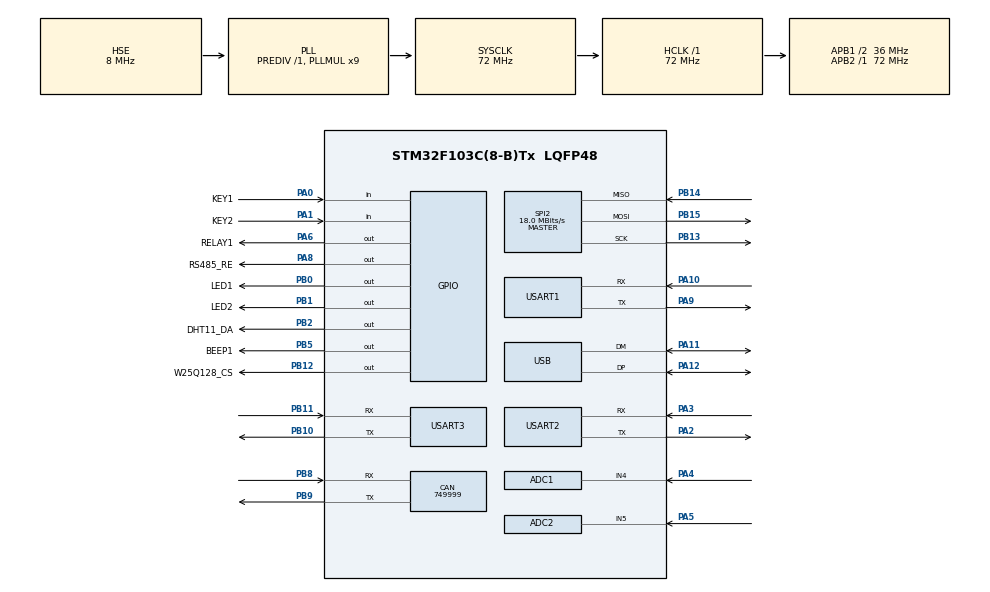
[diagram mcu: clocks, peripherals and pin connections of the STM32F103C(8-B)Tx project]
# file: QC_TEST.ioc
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ADC1.Channel-1\#ChannelRegularConversion=ADC_CHANNEL_4
ADC1.NbrOfConversionFlag=1
ADC1.Rank-1\#ChannelRegularConversion=1
ADC1.SamplingTime-1\#ChannelRegularConversion=ADC_SAMPLETIME_1CYCLE_5
ADC1.master=1
ADC2.Channel-2\#ChannelRegularConversion=ADC_CHANNEL_5
ADC2.NbrOfConversionFlag=1
ADC2.Rank-2\#ChannelRegularConversion=1
ADC2.SamplingTime-2\#ChannelRegularConversion=ADC_SAMPLETIME_1CYCLE_5
CAN.CalculateBaudRate=749999
CAN.CalculateTimeBit=1333
CAN.CalculateTimeQuantum=444.44444444444446
Mcu.Family=STM32F1
Mcu.Name=STM32F103C(8-B)Tx
Mcu.Package=LQFP48
NVIC.PriorityGroup=NVIC_PRIORITYGROUP_4
NVIC.USART1_IRQn=true\:0\:0\:false\:false\:true\:true\:true
PA0-WKUP.GPIO_Label=KEY1
PA0-WKUP.GPIO_PuPd=GPIO_PULLUP
PA0-WKUP.Signal=GPIO_Input
PA1.GPIO_Label=KEY2
PA1.GPIO_PuPd=GPIO_PULLUP
PA1.Signal=GPIO_Input
PA10.Mode=Asynchronous
PA10.Signal=USART1_RX
PA11.Mode=Device
PA11.Signal=USB_DM
PA12.Mode=Device
PA12.Signal=USB_DP
PA13.Mode=JTAG_5_pins
PA13.Signal=SYS_JTMS-SWDIO
PA14.Mode=JTAG_5_pins
PA14.Signal=SYS_JTCK-SWCLK
PA15.Mode=JTAG_5_pins
PA15.Signal=SYS_JTDI
PA2.Mode=Asynchronous
PA2.Signal=USART2_TX
PA3.Mode=Asynchronous
PA3.Signal=USART2_RX
PA4.Signal=ADCx_IN4
PA5.Signal=ADCx_IN5
PA6.GPIO_Label=RELAY1
PA6.GPIO_ModeDefaultOutputPP=GPIO_MODE_OUTPUT_OD
PA6.GPIO_PuPd=GPIO_NOPULL
PA6.GPIO_Speed=GPIO_SPEED_FREQ_HIGH
PA6.PinState=GPIO_PIN_SET
PA6.Signal=GPIO_Output
PA8.GPIO_Label=RS485_RE
PA8.GPIO_PuPd=GPIO_NOPULL
PA8.GPIO_Speed=GPIO_SPEED_FREQ_HIGH
PA8.Signal=GPIO_Output
PA9.Mode=Asynchronous
PA9.Signal=USART1_TX
PB0.GPIO_Label=LED1
PB0.GPIO_ModeDefaultOutputPP=GPIO_MODE_OUTPUT_PP
PB0.GPIO_PuPd=GPIO_NOPULL
PB0.GPIO_Speed=GPIO_SPEED_FREQ_HIGH
PB0.PinState=GPIO_PIN_RESET
PB0.Signal=GPIO_Output
PB1.GPIO_Label=LED2
PB1.GPIO_Speed=GPIO_SPEED_FREQ_HIGH
PB1.PinState=GPIO_PIN_SET
PB1.Signal=GPIO_Output
PB10.Mode=Asynchronous
PB10.Signal=USART3_TX
PB11.Mode=Asynchronous
PB11.Signal=USART3_RX
PB12.GPIO_Label=W25Q128_CS
PB12.GPIO_PuPd=GPIO_PULLUP
PB12.GPIO_Speed=GPIO_SPEED_FREQ_HIGH
PB12.PinState=GPIO_PIN_SET
PB12.Signal=GPIO_Output
PB13.Mode=Full_Duplex_Master
PB13.Signal=SPI2_SCK
PB14.Mode=Full_Duplex_Master
PB14.Signal=SPI2_MISO
PB15.Mode=Full_Duplex_Master
PB15.Signal=SPI2_MOSI
PB2.GPIO_Label=DHT11_DA
PB2.GPIO_Speed=GPIO_SPEED_FREQ_HIGH
PB2.PinState=GPIO_PIN_SET
PB2.Signal=GPIO_Output
PB3.Mode=JTAG_5_pins
PB3.Signal=SYS_JTDO-TRACESWO
PB4.Mode=JTAG_5_pins
PB4.Signal=SYS_NJTRST
PB5.GPIO_Label=BEEP1
PB5.GPIO_Speed=GPIO_SPEED_FREQ_HIGH
PB5.PinState=GPIO_PIN_SET
PB5.Signal=GPIO_Output
PB8.Mode=CAN_Activate
PB8.Signal=CAN_RX
PB9.Mode=CAN_Activate
PB9.Signal=CAN_TX
PC14-OSC32_IN.Mode=LSE-External-Oscillator
PC14-OSC32_IN.Signal=RCC_OSC32_IN
PC15-OSC32_OUT.Mode=LSE-External-Oscillator
PC15-OSC32_OUT.Signal=RCC_OSC32_OUT
PD0-OSC_IN.Mode=HSE-External-Oscillator
PD0-OSC_IN.Signal=RCC_OSC_IN
PD1-OSC_OUT.Mode=HSE-External-Oscillator
PD1-OSC_OUT.Signal=RCC_OSC_OUT
ProjectManager.HeapSize=0x200
ProjectManager.StackSize=0x400
ProjectManager.TargetToolchain=STM32CubeIDE
RCC.ADCPresc=RCC_ADCPCLK2_DIV8
RCC.AHBFreq_Value=72000000
RCC.APB1CLKDivider=RCC_HCLK_DIV2
RCC.APB1Freq_Value=36000000
RCC.APB1TimFreq_Value=72000000
RCC.APB2Freq_Value=72000000
RCC.APB2TimFreq_Value=72000000
RCC.HCLKFreq_Value=72000000
RCC.PLLMUL=RCC_PLL_MUL9
RCC.PLLSourceVirtual=RCC_PLLSOURCE_HSE
RCC.RCC_MCOSource=RCC_MCO1SOURCE_HSE
RCC.RTCClockSelection=RCC_RTCCLKSOURCE_LSE
RCC.SYSCLKFreq_VALUE=72000000
RCC.SYSCLKSource=RCC_SYSCLKSOURCE_PLLCLK
RCC.USBFreq_Value=48000000
RCC.USBPrescaler=RCC_USBCLKSOURCE_PLL_DIV1_5
SH.ADCx_IN4.0=ADC1_IN4,IN4
SH.ADCx_IN5.0=ADC2_IN5,IN5
SPI2.CalculateBaudRate=18.0 MBits/s
SPI2.Direction=SPI_DIRECTION_2LINES
SPI2.Mode=SPI_MODE_MASTER
SPI2.VirtualType=VM_MASTER
USART1.VirtualMode=VM_ASYNC
USART2.VirtualMode=VM_ASYNC
USART3.VirtualMode=VM_ASYNC
VP_RTC_VS_RTC_Activate.Mode=RTC_Enabled
board=custom

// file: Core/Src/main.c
/* USER CODE BEGIN Header */
/**
  ******************************************************************************
  * @file           : main.c
  * @brief          : Main program body
  ******************************************************************************
  * @attention
  *
  * Copyright (c) 2021 STMicroelectronics.
  * All rights reserved.
  *
  * This software is licensed under terms that can be found in the LICENSE file
  * in the root directory of this software component.
  * If no LICENSE file comes with this software, it is provided AS-IS.
  *
  ******************************************************************************
  */
/* USER CODE END Header */
#include "main.h"

/* USER CODE BEGIN Includes */
#include "../../icode/led/led.h"
#include "../../icode/key/key.h"
#include "../../icode/delay/delay.h"
#include "../../icode/buzzer/buzzer.h"
#include "../../icode/relay/relay.h"
#include "../inc/retarget.h"//用于printf函数串口重映射
#include "../../icode/usart/usart.h"
/* USER CODE END Includes */

ADC_HandleTypeDef hadc1;
ADC_HandleTypeDef hadc2;

CAN_HandleTypeDef hcan;

RTC_HandleTypeDef hrtc;

SPI_HandleTypeDef hspi2;

UART_HandleTypeDef huart1;
UART_HandleTypeDef huart2;
UART_HandleTypeDef huart3;

PCD_HandleTypeDef hpcd_USB_FS;

void SystemClock_Config(void);
static void MX_GPIO_Init(void);
static void MX_RTC_Init(void);
static void MX_ADC1_Init(void);
static void MX_ADC2_Init(void);
static void MX_CAN_Init(void);
static void MX_SPI2_Init(void);
static void MX_USART1_UART_Init(void);
static void MX_USART2_UART_Init(void);
static void MX_USART3_UART_Init(void);
static void MX_USB_PCD_Init(void);

int main(void)
{

  /* MCU Configuration--------------------------------------------------------*/

  /* Reset of all peripherals, Initializes the Flash interface and the Systick. */
  HAL_Init();

  /* Configure the system clock */
  SystemClock_Config();

  /* Initialize all configured peripherals */
  MX_GPIO_Init();
  MX_RTC_Init();
  MX_ADC1_Init();
  MX_ADC2_Init();
  MX_CAN_Init();
  MX_SPI2_Init();
  MX_USART1_UART_Init();
  MX_USART2_UART_Init();
  MX_USART3_UART_Init();
  MX_USB_PCD_Init();
  /* USER CODE BEGIN 2 */
  RetargetInit(&huart1);//将printf()函数映射到UART1串口上
  HAL_UART_Receive_IT(&huart1,(uint8_t *)&USART1_NewData,1);//开启串口1接收中断
  /* USER CODE END 2 */

  /* Infinite loop */
  /* USER CODE BEGIN WHILE */
  while (1)
  {
//	  LED_1(1);//LED1灯控制（1点亮，0熄灭）
//	  LED_2(0);//LED2灯控制（1点亮，0熄灭）
//	  HAL_Delay(100);//在主循环里写入HAL库的毫秒级延时函数
//	  LED_1(0);//LED1灯控制（1点亮，0熄灭）
//	  LED_2(1);//LED2灯控制（1点亮，0熄灭）
//	  HAL_Delay(100);//在主循环里写入HAL库的毫秒级延时函数

	  if(KEY_1()) //按键KEY1判断为1时按键按下
	  {
		  LED_1(1);//LED1灯控制（1点亮，0熄灭）
		  LED_2(1);//LED2灯控制（1点亮，0熄灭）
		  BUZZER_SOLO1();//蜂鸣器输出单音的报警音（样式1：HAL库的精准延时函数）
		  RELAY_1(1);//继电器的控制程序（c=0继电器放开，c=1继电器吸合）
	      HAL_UART_Transmit(&huart1,(uint8_t*)&"KEY1\r\n",6,0xffff);//串口发送：串口号1，内容"ABC"，数量3，溢出时间0xffff
	  }
	  if(KEY_2()) //按键KEY2判断为1时按键按下
	  {
		  LED_1(0);//LED1灯控制（1点亮，0熄灭）
		  LED_2(0);//LED2灯控制（1点亮，0熄灭）
		  BUZZER_SOLO2();//蜂鸣器输出单音的报警音（样式2：CPU微秒级延时）
		  RELAY_1(0);//继电器的控制程序（c=0继电器放开，c=1继电器吸合）
		  printf("KEY2\r\n");//向USART1串口发送字符串
	  }
	  if(USART1_RX_STA==0x0001){//串口1判断中断接收标志位
		  if(USART1_RX_BUF[0]=='1'){
			  LED_1(1);//LED1灯控制（1点亮，0熄灭）
			  LED_2(1);//LED2灯控制（1点亮，0熄灭）
			  BUZZER_SOLO1();//蜂鸣器输出单音的报警音（样式1：HAL库的精准延时函数）
			  RELAY_1(1);//继电器的控制程序（c=0继电器放开，c=1继电器吸合）
		  }
		  if(USART1_RX_BUF[0]=='0'){
			  LED_1(0);//LED1灯控制（1点亮，0熄灭）
			  LED_2(0);//LED2灯控制（1点亮，0熄灭）
			  BUZZER_SOLO2();//蜂鸣器输出单音的报警音（样式2：CPU微秒级延时）
			  RELAY_1(0);//继电器的控制程序（c=0继电器放开，c=1继电器吸合）
		  }
		  USART1_RX_STA=0;//串口接收标志清0，即开启下一轮接收
	  }

    /* USER CODE END WHILE */

  }
}

void SystemClock_Config(void)
{
  RCC_OscInitTypeDef RCC_OscInitStruct = {0};
  RCC_ClkInitTypeDef RCC_ClkInitStruct = {0};
  RCC_PeriphCLKInitTypeDef PeriphClkInit = {0};

  /** Initializes the RCC Oscillators according to the specified parameters
  * in the RCC_OscInitTypeDef structure.
  */
  RCC_OscInitStruct.OscillatorType = RCC_OSCILLATORTYPE_HSE|RCC_OSCILLATORTYPE_LSE;
  RCC_OscInitStruct.HSEState = RCC_HSE_ON;
  RCC_OscInitStruct.HSEPredivValue = RCC_HSE_PREDIV_DIV1;
  RCC_OscInitStruct.LSEState = RCC_LSE_ON;
  RCC_OscInitStruct.HSIState = RCC_HSI_ON;
  RCC_OscInitStruct.PLL.PLLState = RCC_PLL_ON;
  RCC_OscInitStruct.PLL.PLLSource = RCC_PLLSOURCE_HSE;
  RCC_OscInitStruct.PLL.PLLMUL = RCC_PLL_MUL9;
  if (HAL_RCC_OscConfig(&RCC_OscInitStruct) != HAL_OK)
  {
    Error_Handler();
  }
  /** Initializes the CPU, AHB and APB buses clocks
  */
  RCC_ClkInitStruct.ClockType = RCC_CLOCKTYPE_HCLK|RCC_CLOCKTYPE_SYSCLK
                              |RCC_CLOCKTYPE_PCLK1|RCC_CLOCKTYPE_PCLK2;
  RCC_ClkInitStruct.SYSCLKSource = RCC_SYSCLKSOURCE_PLLCLK;
  RCC_ClkInitStruct.AHBCLKDivider = RCC_SYSCLK_DIV1;
  RCC_ClkInitStruct.APB1CLKDivider = RCC_HCLK_DIV2;
  RCC_ClkInitStruct.APB2CLKDivider = RCC_HCLK_DIV1;

  if (HAL_RCC_ClockConfig(&RCC_ClkInitStruct, FLASH_LATENCY_2) != HAL_OK)
  {
    Error_Handler();
  }
  PeriphClkInit.PeriphClockSelection = RCC_PERIPHCLK_RTC|RCC_PERIPHCLK_ADC
                              |RCC_PERIPHCLK_USB;
  PeriphClkInit.RTCClockSelection = RCC_RTCCLKSOURCE_LSE;
  PeriphClkInit.AdcClockSelection = RCC_ADCPCLK2_DIV8;
  PeriphClkInit.UsbClockSelection = RCC_USBCLKSOURCE_PLL_DIV1_5;
  if (HAL_RCCEx_PeriphCLKConfig(&PeriphClkInit) != HAL_OK)
  {
    Error_Handler();
  }
}

static void MX_ADC1_Init(void)
{

  ADC_ChannelConfTypeDef sConfig = {0};

  /** Common config
  */
  hadc1.Instance = ADC1;
  hadc1.Init.ScanConvMode = ADC_SCAN_DISABLE;
  hadc1.Init.ContinuousConvMode = DISABLE;
  hadc1.Init.DiscontinuousConvMode = DISABLE;
  hadc1.Init.ExternalTrigConv = ADC_SOFTWARE_START;
  hadc1.Init.DataAlign = ADC_DATAALIGN_RIGHT;
  hadc1.Init.NbrOfConversion = 1;
  if (HAL_ADC_Init(&hadc1) != HAL_OK)
  {
    Error_Handler();
  }
  /** Configure Regular Channel
  */
  sConfig.Channel = ADC_CHANNEL_4;
  sConfig.Rank = ADC_REGULAR_RANK_1;
  sConfig.SamplingTime = ADC_SAMPLETIME_1CYCLE_5;
  if (HAL_ADC_ConfigChannel(&hadc1, &sConfig) != HAL_OK)
  {
    Error_Handler();
  }

}

static void MX_ADC2_Init(void)
{

  ADC_ChannelConfTypeDef sConfig = {0};

  /** Common config
  */
  hadc2.Instance = ADC2;
  hadc2.Init.ScanConvMode = ADC_SCAN_DISABLE;
  hadc2.Init.ContinuousConvMode = DISABLE;
  hadc2.Init.DiscontinuousConvMode = DISABLE;
  hadc2.Init.ExternalTrigConv = ADC_SOFTWARE_START;
  hadc2.Init.DataAlign = ADC_DATAALIGN_RIGHT;
  hadc2.Init.NbrOfConversion = 1;
  if (HAL_ADC_Init(&hadc2) != HAL_OK)
  {
    Error_Handler();
  }
  /** Configure Regular Channel
  */
  sConfig.Channel = ADC_CHANNEL_5;
  sConfig.Rank = ADC_REGULAR_RANK_1;
  sConfig.SamplingTime = ADC_SAMPLETIME_1CYCLE_5;
  if (HAL_ADC_ConfigChannel(&hadc2, &sConfig) != HAL_OK)
  {
    Error_Handler();
  }

}

static void MX_CAN_Init(void)
{

  hcan.Instance = CAN1;
  hcan.Init.Prescaler = 16;
  hcan.Init.Mode = CAN_MODE_NORMAL;
  hcan.Init.SyncJumpWidth = CAN_SJW_1TQ;
  hcan.Init.TimeSeg1 = CAN_BS1_1TQ;
  hcan.Init.TimeSeg2 = CAN_BS2_1TQ;
  hcan.Init.TimeTriggeredMode = DISABLE;
  hcan.Init.AutoBusOff = DISABLE;
  hcan.Init.AutoWakeUp = DISABLE;
  hcan.Init.AutoRetransmission = DISABLE;
  hcan.Init.ReceiveFifoLocked = DISABLE;
  hcan.Init.TransmitFifoPriority = DISABLE;
  if (HAL_CAN_Init(&hcan) != HAL_OK)
  {
    Error_Handler();
  }

}

static void MX_RTC_Init(void)
{

  /** Initialize RTC Only
  */
  hrtc.Instance = RTC;
  hrtc.Init.AsynchPrediv = RTC_AUTO_1_SECOND;
  hrtc.Init.OutPut = RTC_OUTPUTSOURCE_ALARM;
  if (HAL_RTC_Init(&hrtc) != HAL_OK)
  {
    Error_Handler();
  }

}

static void MX_SPI2_Init(void)
{

  /* SPI2 parameter configuration*/
  hspi2.Instance = SPI2;
  hspi2.Init.Mode = SPI_MODE_MASTER;
  hspi2.Init.Direction = SPI_DIRECTION_2LINES;
  hspi2.Init.DataSize = SPI_DATASIZE_8BIT;
  hspi2.Init.CLKPolarity = SPI_POLARITY_LOW;
  hspi2.Init.CLKPhase = SPI_PHASE_1EDGE;
  hspi2.Init.NSS = SPI_NSS_SOFT;
  hspi2.Init.BaudRatePrescaler = SPI_BAUDRATEPRESCALER_2;
  hspi2.Init.FirstBit = SPI_FIRSTBIT_MSB;
  hspi2.Init.TIMode = SPI_TIMODE_DISABLE;
  hspi2.Init.CRCCalculation = SPI_CRCCALCULATION_DISABLE;
  hspi2.Init.CRCPolynomial = 10;
  if (HAL_SPI_Init(&hspi2) != HAL_OK)
  {
    Error_Handler();
  }

}

static void MX_USART1_UART_Init(void)
{

  huart1.Instance = USART1;
  huart1.Init.BaudRate = 115200;
  huart1.Init.WordLength = UART_WORDLENGTH_8B;
  huart1.Init.StopBits = UART_STOPBITS_1;
  huart1.Init.Parity = UART_PARITY_NONE;
  huart1.Init.Mode = UART_MODE_TX_RX;
  huart1.Init.HwFlowCtl = UART_HWCONTROL_NONE;
  huart1.Init.OverSampling = UART_OVERSAMPLING_16;
  if (HAL_UART_Init(&huart1) != HAL_OK)
  {
    Error_Handler();
  }

}

static void MX_USART2_UART_Init(void)
{

  huart2.Instance = USART2;
  huart2.Init.BaudRate = 115200;
  huart2.Init.WordLength = UART_WORDLENGTH_8B;
  huart2.Init.StopBits = UART_STOPBITS_1;
  huart2.Init.Parity = UART_PARITY_NONE;
  huart2.Init.Mode = UART_MODE_TX_RX;
  huart2.Init.HwFlowCtl = UART_HWCONTROL_NONE;
  huart2.Init.OverSampling = UART_OVERSAMPLING_16;
  if (HAL_UART_Init(&huart2) != HAL_OK)
  {
    Error_Handler();
  }

}

static void MX_USART3_UART_Init(void)
{

  huart3.Instance = USART3;
  huart3.Init.BaudRate = 115200;
  huart3.Init.WordLength = UART_WORDLENGTH_8B;
  huart3.Init.StopBits = UART_STOPBITS_1;
  huart3.Init.Parity = UART_PARITY_NONE;
  huart3.Init.Mode = UART_MODE_TX_RX;
  huart3.Init.HwFlowCtl = UART_HWCONTROL_NONE;
  huart3.Init.OverSampling = UART_OVERSAMPLING_16;
  if (HAL_UART_Init(&huart3) != HAL_OK)
  {
    Error_Handler();
  }

}

static void MX_USB_PCD_Init(void)
{

  hpcd_USB_FS.Instance = USB;
  hpcd_USB_FS.Init.dev_endpoints = 8;
  hpcd_USB_FS.Init.speed = PCD_SPEED_FULL;
  hpcd_USB_FS.Init.low_power_enable = DISABLE;
  hpcd_USB_FS.Init.lpm_enable = DISABLE;
  hpcd_USB_FS.Init.battery_charging_enable = DISABLE;
  if (HAL_PCD_Init(&hpcd_USB_FS) != HAL_OK)
  {
    Error_Handler();
  }

}

static void MX_GPIO_Init(void)
{
  GPIO_InitTypeDef GPIO_InitStruct = {0};

  /* GPIO Ports Clock Enable */
  __HAL_RCC_GPIOC_CLK_ENABLE();
  __HAL_RCC_GPIOD_CLK_ENABLE();
  __HAL_RCC_GPIOA_CLK_ENABLE();
  __HAL_RCC_GPIOB_CLK_ENABLE();

  /*Configure GPIO pin Output Level */
  HAL_GPIO_WritePin(RELAY1_GPIO_Port, RELAY1_Pin, GPIO_PIN_SET);

  /*Configure GPIO pin Output Level */
  HAL_GPIO_WritePin(LED1_GPIO_Port, LED1_Pin, GPIO_PIN_RESET);

  /*Configure GPIO pin Output Level */
  HAL_GPIO_WritePin(GPIOB, LED2_Pin|DHT11_DA_Pin|W25Q128_CS_Pin|BEEP1_Pin, GPIO_PIN_SET);

  /*Configure GPIO pin Output Level */
  HAL_GPIO_WritePin(RS485_RE_GPIO_Port, RS485_RE_Pin, GPIO_PIN_RESET);

  /*Configure GPIO pins : KEY1_Pin KEY2_Pin */
  GPIO_InitStruct.Pin = KEY1_Pin|KEY2_Pin;
  GPIO_InitStruct.Mode = GPIO_MODE_INPUT;
  GPIO_InitStruct.Pull = GPIO_PULLUP;
  HAL_GPIO_Init(GPIOA, &GPIO_InitStruct);

  /*Configure GPIO pin : RELAY1_Pin */
  GPIO_InitStruct.Pin = RELAY1_Pin;
  GPIO_InitStruct.Mode = GPIO_MODE_OUTPUT_OD;
  GPIO_InitStruct.Pull = GPIO_NOPULL;
  GPIO_InitStruct.Speed = GPIO_SPEED_FREQ_HIGH;
  HAL_GPIO_Init(RELAY1_GPIO_Port, &GPIO_InitStruct);

  /*Configure GPIO pins : LED1_Pin LED2_Pin DHT11_DA_Pin BEEP1_Pin */
  GPIO_InitStruct.Pin = LED1_Pin|LED2_Pin|DHT11_DA_Pin|BEEP1_Pin;
  GPIO_InitStruct.Mode = GPIO_MODE_OUTPUT_PP;
  GPIO_InitStruct.Pull = GPIO_NOPULL;
  GPIO_InitStruct.Speed = GPIO_SPEED_FREQ_HIGH;
  HAL_GPIO_Init(GPIOB, &GPIO_InitStruct);

  /*Configure GPIO pin : W25Q128_CS_Pin */
  GPIO_InitStruct.Pin = W25Q128_CS_Pin;
  GPIO_InitStruct.Mode = GPIO_MODE_OUTPUT_PP;
  GPIO_InitStruct.Pull = GPIO_PULLUP;
  GPIO_InitStruct.Speed = GPIO_SPEED_FREQ_HIGH;
  HAL_GPIO_Init(W25Q128_CS_GPIO_Port, &GPIO_InitStruct);

  /*Configure GPIO pin : RS485_RE_Pin */
  GPIO_InitStruct.Pin = RS485_RE_Pin;
  GPIO_InitStruct.Mode = GPIO_MODE_OUTPUT_PP;
  GPIO_InitStruct.Pull = GPIO_NOPULL;
  GPIO_InitStruct.Speed = GPIO_SPEED_FREQ_HIGH;
  HAL_GPIO_Init(RS485_RE_GPIO_Port, &GPIO_InitStruct);

}

void Error_Handler(void)
{
  __disable_irq();
  while (1)
  {
  }
}
